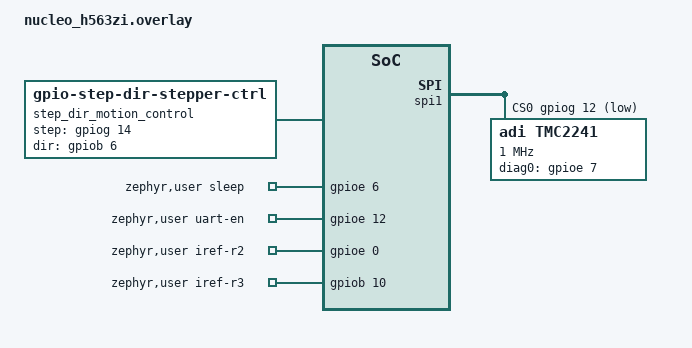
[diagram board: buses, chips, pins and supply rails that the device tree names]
/*
 * SPDX-FileCopyrightText: Copyright (c) 2026
 * SPDX-License-Identifier: Apache-2.0
 *
 * TMC2241-EVKIT (TMC2241-EVAL board), bridged to the Nucleo-H563ZI via the
 * "Sternbruecke Nucleo V0.1" adapter board (stacks on the Nucleo's Arduino/
 * Morpho headers, plugs directly into the EVAL board's J201 connector - no
 * loose jumper wires for the signals below). Every pin here was traced
 * directly off the Sternbruecke schematic + cross-checked against ST's
 * UM3115 Zio connector tables, not guessed.
 *
 * TMC2241-EVAL J201 pin -> Sternbruecke J101 pin -> Nucleo Zio Dxx -> STM32 pin:
 *   27 SPI_SCK    -> D13 -> PA5  (board default &spi1 pinctrl, unchanged)
 *   29 SPI_MOSI   -> D11 -> PB5  (board default &spi1 pinctrl, unchanged)
 *   28 SPI_MISO   -> D12 -> PG9  (board default &spi1 pinctrl, unchanged)
 *   24 SPI_CS_DRV -> D7  -> PG12 (overrides the board's default D10/PD14 CS)
 *    8 DRV_EN     -> D35 -> PA3
 *   38 DIAG0      -> D41 -> PE7
 *   19 SLEEP      -> D38 -> PE6  (must stay driven high - datasheet: floating/low = sleep)
 *   20 UART_EN    -> D39 -> PE12 (low = SPI mode)
 *    9 IREF_R2    -> D34 -> PE0  (low = lowest/safest current range, see IREF_R3)
 *   10 IREF_R3    -> D36 -> PB10
 *   23 CLK        -> (none, Sternbruecke's own local 16MHz oscillator)
 *
 * STEP/DIR are NOT on the Sternbruecke/J201 path at all - TMC2241-EVAL's J205
 * (separate 3-pin direct header) needs its own 2 jumper wires straight to the
 * Nucleo. D2/D1 (PG14/PB6) picked below as free Arduino-header pins - easy
 * physical access, not yet schematic-traced since J205 bypasses Sternbruecke
 * entirely (arbitrary GPIO choice here carries no functional-mismatch risk).
 */

/ {
	aliases {
		stepper-driver = &tmc2241_stepper_driver;
		stepper-ctrl = &step_dir_motion_control;
	};

	step_dir_motion_control: motion-controller {
		compatible = "zephyr,gpio-step-dir-stepper-ctrl";
		step-gpios = <&gpiog 14 GPIO_ACTIVE_HIGH>; /* Arduino D2, direct wire to J205 STEP */
		dir-gpios = <&gpiob 6 GPIO_ACTIVE_HIGH>;   /* Arduino D1, direct wire to J205 DIR */
		stepper-driver = <&tmc2241_stepper_driver>;
	};

	/* Static pins not covered by the tmc2241 DT binding - driven once at boot
	 * by main.c via the zephyr,user node (see HAS_STATIC_PINS in main.c).
	 */
	zephyr,user {
		sleep-gpios = <&gpioe 6 GPIO_ACTIVE_HIGH>;    /* must stay high - low/floating = chip sleep */
		uart-en-gpios = <&gpioe 12 GPIO_ACTIVE_HIGH>; /* low = SPI mode */
		iref-r2-gpios = <&gpioe 0 GPIO_ACTIVE_HIGH>;   /* both low = 48kOhm = lowest current range */
		iref-r3-gpios = <&gpiob 10 GPIO_ACTIVE_HIGH>;
	};
};

&spi1 {
	cs-gpios = <&gpiog 12 GPIO_ACTIVE_LOW>; /* overrides board default D10/PD14 */

	tmc2241: tmc2241@0 {
		compatible = "adi,tmc2241";
		reg = <0>;
		spi-max-frequency = <DT_FREQ_M(1)>;

		clock-frequency = <12500000>; /* internal osc typ. freq, Sternbruecke's own clock unused here */
		en-pwm-mode;
		diag0-gpios = <&gpioe 7 GPIO_ACTIVE_HIGH>;

		tmc2241_stepper_driver: stepper-driver {
			compatible = "adi,tmc5241-stepper-driver";
			en-gpios = <&gpioa 3 GPIO_ACTIVE_LOW>; /* DRV_ENN active-low */
			micro-step-res = <256>;
			stallguard2-threshold = <9>;
		};
	};
};
